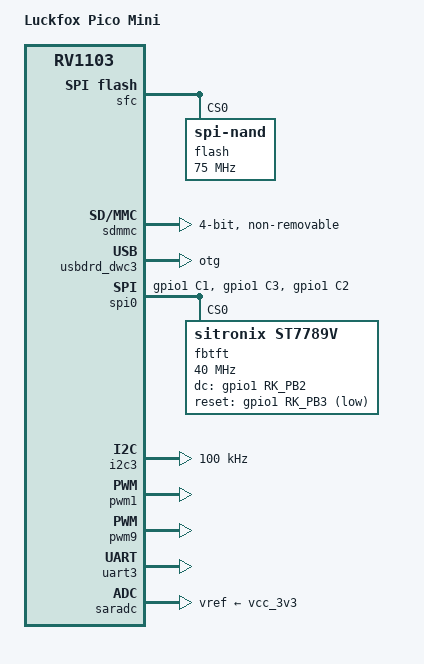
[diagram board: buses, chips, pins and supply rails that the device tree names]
// SPDX-License-Identifier: (GPL-2.0+ OR MIT)
/*
 * Copyright (c) 2023 Luckfox Electronics Co., Ltd.
 */

/dts-v1/;

#include "rv1103.dtsi"
#include "rv1106-evb.dtsi"
#include "rv1103-luckfox-pico-ipc.dtsi"

/ {
	model = "Luckfox Pico Mini";
	compatible = "rockchip,rv1103g-38x38-ipc-v10", "rockchip,rv1103";

	adc-keys {
		status = "disabled";
	};

	dht11_sensor {
        status = "disabled";
    };
};

&pinctrl {
    gpio {
        /******** LCD Controller ********/
        /* GPIO1_B2 */
        gpio1_pb2: gpio1-pb2 {
            rockchip,pins = <1 RK_PB2 RK_FUNC_GPIO &pcfg_pull_none>;
        };

        /* GPIO1_B3 */
        gpio1_pb3: gpio1-pb3 {
            rockchip,pins = <1 RK_PB3 RK_FUNC_GPIO &pcfg_pull_none>;
        };

        /* GPIO1_C4 */
        gpio1_pc4: gpio1-pc4 {
            rockchip,pins = <1 RK_PC4 RK_FUNC_GPIO &pcfg_pull_none>;
        };

		/******** DS1302 ********/
        /* GPIO4_C1  CLK */
        gpio4_pc1: gpio4-pc1 {
            rockchip,pins = <4 RK_PC1 RK_FUNC_GPIO &pcfg_pull_none>;
        };

        /* GPIO4_C0  DIN */
        gpio4_pc0: gpio4-pc0 {
            rockchip,pins = <4 RK_PC0 RK_FUNC_GPIO &pcfg_pull_none>;
        };

		/* GPIO0_A4  RST */
		gpio0_pa4: gpio0-pa4 {
            rockchip,pins = <0 RK_PA4 RK_FUNC_GPIO &pcfg_pull_none>;
        };
    };
};

/**********SFC**********/
&sfc {
	status = "okay";
	flash@0 {
		compatible = "spi-nand";
		reg = <0>;
		spi-max-frequency = <75000000>;
		spi-rx-bus-width = <4>;
		spi-tx-bus-width = <1>;
	};
};

/**********SDMMC**********/
&sdmmc {
	max-frequency = <50000000>;
	no-mmc;
	bus-width = <4>;
	cap-mmc-highspeed;
	cap-sd-highspeed;
	disable-wp;
	
	//sdio
	cap-sdio-irq;
	non-removable;	
	no-1-8-v;
	supports-sdio;

	pinctrl-names = "default";
	pinctrl-0 = <&sdmmc0_clk &sdmmc0_cmd &sdmmc0_det &sdmmc0_bus4>;
	status = "okay";
};

/**********ETH**********/
&gmac {
	status = "disabled";
};

/**********USB**********/
&usbdrd_dwc3 {
	status = "okay";
	dr_mode = "otg";
};

/**********SPI**********/
/* SPI0_M0 */
&pinctrl {
    spi0 {
        /omit-if-no-ref/
        spi0m0_pins: spi0m0-pins {
            rockchip,pins =
                /* spi0_clk_m0 */
                <1 RK_PC1 4 &pcfg_pull_none>,
                /* spie_miso_m0 */
                <1 RK_PC3 6 &pcfg_pull_none>,
                /* spi_mosi_m0 */
                <1 RK_PC2 6 &pcfg_pull_none>;
        };
    };
};

/**********FBDEV**********/
&spi0 {
	status = "okay";
	pinctrl-names = "default";
	pinctrl-0 = <&spi0m0_cs0 &spi0m0_pins>;

	fbtft:fbtft@0 {
		status = "okay";
		compatible = "sitronix,st7789v";
		reg = <0>;
		spi-max-frequency = <40000000>;
		fps = <60>;
		buswidth = <8>;
		debug = <0x7>;
		rotate = <90>;
		pinctrl-names = "default";
		pinctrl-0 = <&gpio1_pc4 &gpio1_pb2 &gpio1_pb3>; 
		/* led-gpios = <&gpio1 RK_PC4 GPIO_ACTIVE_HIGH>; */ //BL Disabled 
		dc-gpios = <&gpio1 RK_PB2 GPIO_ACTIVE_HIGH>; //DC
		reset-gpios = <&gpio1 RK_PB3 GPIO_ACTIVE_LOW>; //RES
	};
};

/**********RTC**********/
&rtc {
	status = "disabled";
};

/**********I2C**********/
/* I2C3_M1 */
&i2c3 {
	status = "okay";
	clock-frequency = <100000>;
};

/**********PWM**********/
/* PWM1_M0*/
&pwm1 {
	status = "okay";
};

/* PWM9_M1 */
&pwm9{
	status = "okay";
	pinctrl-0 = <&pwm9m1_pins>;
};


/**********UART**********/
/* UART3_M1 */
&uart3 {
	status = "okay";
};

/* UART4_M1 */
&uart4 {
	status = "disabled";
};

/* UART2_M1 => Multi-feature to LCDC */
&uart2 {
	status = "disabled";
};

/**********ADC**********/
&saradc {
	status = "okay";
	vref-supply = <&vcc_3v3>;
};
